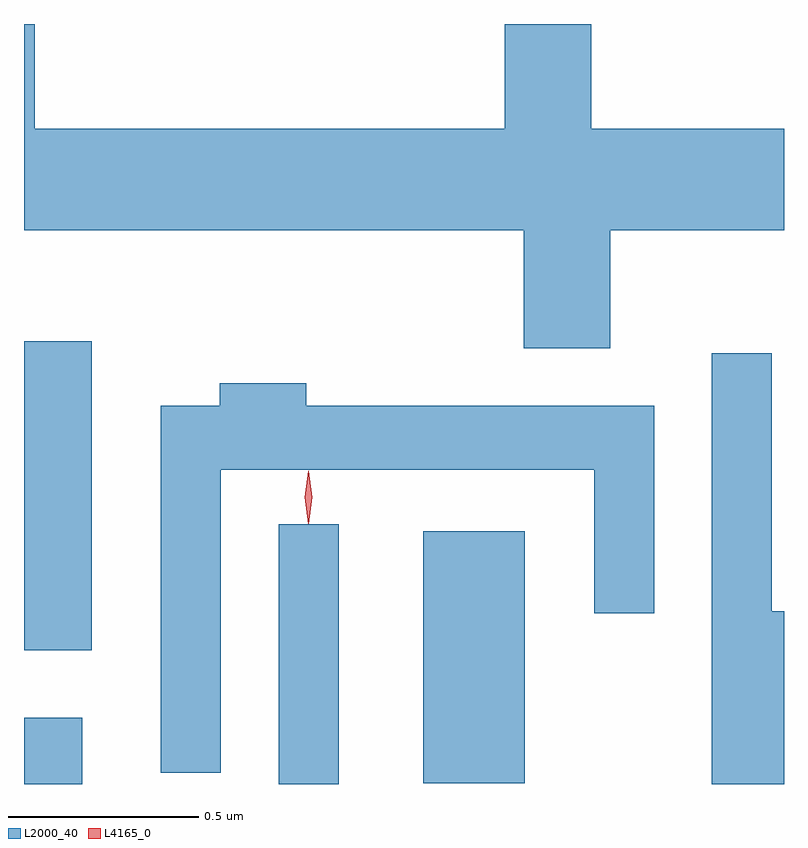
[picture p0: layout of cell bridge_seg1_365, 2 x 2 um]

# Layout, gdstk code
import gdstk
lib = gdstk.Library(unit=1e-6, precision=1e-09)
def R(c, l, rs):  # rectangles x0, y0, x1, y1
    for r in rs: c.add(gdstk.rectangle(r[:2], r[2:], *l))
def P(c, l, *ps):  # polygons
    for p in ps: c.add(gdstk.Polygon(p, *l))
L2000_40 = (2000, 40)
L4165_0 = (4165, 0)

bridge_seg1_365 = lib.new_cell('bridge_seg1_365')
R(bridge_seg1_365, L2000_40, [(934.596,880.359,934.749,880.534), (935.266,880.359,935.424,881.043), (935.646,880.361,935.914,881.024), (934.596,880.711,934.774,881.524)])
P(bridge_seg1_365, L2000_40, [(936.139,881.816),(936.596,881.816),(936.596,882.084),(936.089,882.084),(936.089,882.359),(935.861,882.359),(935.861,882.084),(934.624,882.084),(934.624,882.359),(934.596,882.359),(934.596,881.816),(935.911,881.816),(935.911,881.506),(936.139,881.506)],
  [(936.596,880.814),(936.564,880.814),(936.564,881.493),(936.406,881.493),(936.406,880.359),(936.596,880.359)],
  [(935.114,881.186),(936.096,881.186),(936.096,880.808),(936.254,880.808),(936.254,881.354),(935.339,881.354),(935.339,881.414),(935.111,881.414),(935.111,881.354),(934.956,881.354),(934.956,880.388),(935.114,880.388)])
P(bridge_seg1_365, L4165_0, [(935.344,881.044),(935.335,881.113),(935.344,881.182),(935.345,881.183),(935.345,881.182),(935.355,881.113),(935.345,881.044),(935.345,881.044)],
  [(935.344,881.047),(935.335,881.114),(935.344,881.18),(935.345,881.181),(935.345,881.18),(935.355,881.114),(935.345,881.047),(935.345,881.047)])

lib.write_gds('bridge_seg1_365.gds')
